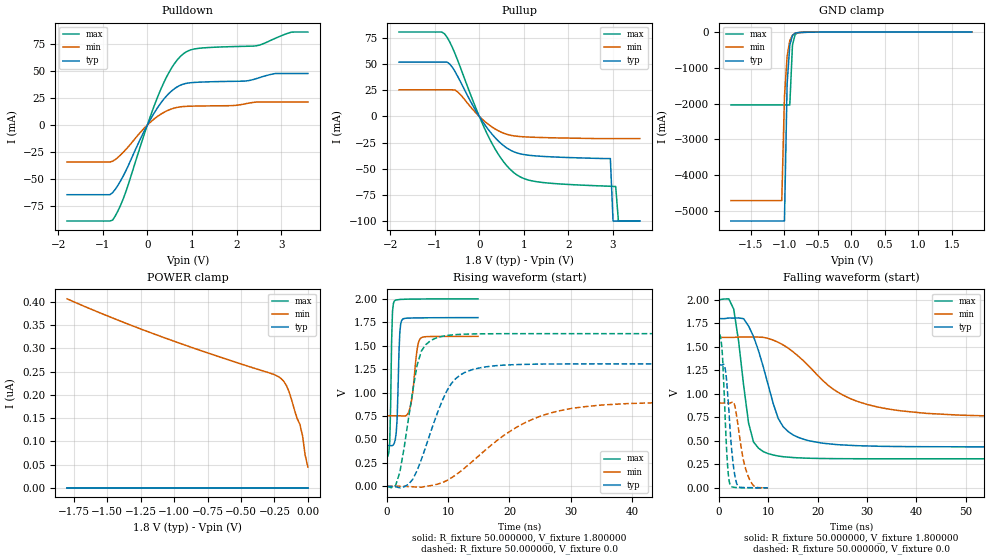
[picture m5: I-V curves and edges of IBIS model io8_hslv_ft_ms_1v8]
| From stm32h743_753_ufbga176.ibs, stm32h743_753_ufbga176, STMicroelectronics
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|   Model io8_hslv_ft_ms_1v8
[Model]  io8_hslv_ft_ms_1v8
Model_type I/O
Polarity   Non-Inverting
Enable   Active-Low
Vinl =   0.540000V
Vinh =   1.260000V
Vmeas =  0.900000V
Cref =   40.000000pF
Rref =   100.000000M
Vref =   0.0V
C_comp   3.178600pF   3.147500pF   3.264300pF
[Temperature Range]   25.000000   0.140000k   -40.000000
[Pullup Reference]   1.800000V   1.600000V   2.000000V
[Pulldown Reference]   0.0V   0.0V   0.0V
[POWER Clamp Reference]   1.800000V   1.600000V   2.000000V
[GND Clamp Reference]   0.0V   0.0V   0.0V
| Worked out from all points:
|   slope of the pulldown table from 0 to 0.27 V, typ, clamps not added: 14.5 ohm
|   slope of the pullup table from 0 to 0.27 V, typ, clamps not added: 16.7 ohm
|   GND clamp passes 1 mA (typ) near -0.49 V on its own axis
|   rising waveform, R_fixture 50.000000, V_fixture 1.800000: 20-80 % time 375ps typ, 834ps min, 291ps max; typ from 0.436 V to 1.8 V
|   rising waveform, R_fixture 50.000000, V_fixture 0.0: 20-80 % time 4.56ns typ, 11.6ns min, 2.4ns max; typ from 0 V to 1.31 V
|   falling waveform, R_fixture 50.000000, V_fixture 1.800000: 20-80 % time 4.79ns typ, 12.5ns min, 2.53ns max; typ from 1.8 V to 0.436 V
|   falling waveform, R_fixture 50.000000, V_fixture 0.0: 20-80 % time 1.17ns typ, 1.83ns min, 835ps max; typ from 1.31 V to 0 V
[Pulldown]
|Voltage   I(typ)   I(min)   I(max)
-1.8V     -64.86mA   -34.49mA   -89.34mA
-780mV    -63.02mA   -33.74mA   -88.51mA
-540mV    -47.38mA   -25.35mA   -68.57mA
-60mV     -4.803mA   -2.495mA   -7.416mA
300mV     20.37mA    10mA       33.08mA
540mV     31.54mA    14.9mA     52.85mA
780mV     37.68mA    17.08mA    65.31mA
1.14V     39.81mA    17.65mA    71.28mA
2.46V     43.34mA    21.39mA    73.82mA
2.88V     47.93mA    21.39mA    80.85mA
3.24V     47.93mA    21.39mA    86.46mA
3.6V      47.93mA    21.39mA    86.5mA
[Pullup]
|Voltage   I(typ)   I(min)   I(max)
-1.8V     51.86mA    25.35mA    80.61mA
-780mV    51.86mA    25.35mA    78.91mA
-660mV    49.98mA    25.35mA    70.92mA
-480mV    37.89mA    23.27mA    53.06mA
240mV     -14.62mA   -8.774mA   -22.23mA
780mV     -33.92mA   -18.65mA   -53.95mA
1.32V     -37.95mA   -20.11mA   -62.64mA
2.94V     -40.3mA    -21.2mA    -66.8mA
3V        -100mA     -21.2mA    -67mA
3.06V     -100mA     -21.2mA    -67mA
3.12V     -100mA     -21.2mA    -100mA
3.6V      -100mA     -21.2mA    -100mA
[GND_clamp]
|Voltage   I(typ)   I(min)   I(max)
-1.8V     -5.279A    -4.707A    -2.038A
-1.04V    -5.279A    -4.707A    -2.038A
-1V       -5.279A    -1.816A    -2.038A
-960mV    -1.443A    -671.6mA   -2.038A
-920mV    -368.1mA   -241.4mA   -2.038A
-880mV    -95.78mA   -89.36mA   -359.4mA
-840mV    -32.05mA   -36.9mA    -67.6mA
-800mV    -16.14mA   -18.39mA   -21.96mA
-760mV    -10.94mA   -11.34mA   -13.1mA
-520mV    -1.549mA   -2.045mA   -1.468mA
1.8V      0A         -17.59nA   0A
[POWER_clamp]
|Voltage   I(typ)   I(min)   I(max)
-1.8V     0A         406.5nA    0A
-1.46V    0A         365.4nA    0A
-1.12V    0A         327.8nA    0A
-220mV    0A         239.1nA    0A
-180mV    0A         229nA      0A
-160mV    0A         219.8nA    0A
-140mV    0A         206.2nA    0A
-80mV     0A         148.9nA    0A
-60mV     0A         136.9nA    0A
-40mV     0A         112.3nA    0A
-20mV     0A         69.79nA    0A
0V        0A         44.72nA    0A
[Ramp]
| variable   typ   min   max
dV/dt_r  0.78396/4.52419n   0.54064/11.56348n   0.97590/2.35696n
dV/dt_f  0.81858/4.68998n   0.50862/12.49223n   1.01522/2.39742n
R_load = 50.000000
[Rising Waveform]
R_fixture= 50.000000
V_fixture= 1.800000
V_fixture_min= 1.600000
V_fixture_max= 2.000000
|time   V(typ)   V(min)   V(max)
0s        435.7mV    752.2mV    308.5mV
450.5ps   435.4mV    752.2mV    471mV
900.9ps   435.4mV    752.2mV    1.867V
1.201ns   462.7mV    752.2mV    1.977V
1.652ns   713.9mV    752.3mV    1.99V
2.102ns   1.65V      752mV      1.994V
2.402ns   1.77V      751mV      1.995V
3.754ns   1.795V     835.5mV    1.998V
5.405ns   1.797V     1.573V     1.998V
14.86ns   1.8V       1.6V       2V
[Rising Waveform]
R_fixture= 50.000000
V_fixture= 0.0
V_fixture_min= 0.0
V_fixture_max= 0.0
|time   V(typ)   V(min)   V(max)
0s        -4.538uV   697.7nV    -514.9uV
2.102ns   -16.51mV   48.88uV    150.3mV
4.905ns   166.4mV    -8.418mV   1.288V
5.606ns   284.7mV    -9.655mV   1.442V
8.408ns   814mV      25.77mV    1.591V
10.51ns   1.097V     90.09mV    1.615V
13.31ns   1.23V      229.8mV    1.624V
21.02ns   1.299V     624.8mV    1.629V
28.03ns   1.305V     803.8mV    1.629V
69.37ns   1.307V     901.2mV    1.629V
[Falling Waveform]
R_fixture= 50.000000
V_fixture= 1.800000
V_fixture_min= 1.600000
V_fixture_max= 2.000000
|time   V(typ)   V(min)   V(max)
0s        1.8V       1.6V       2V
3.003ns   1.805V     1.6V       1.9V
6.006ns   1.722V     1.603V     690.6mV
7.007ns   1.611V     1.604V     487.8mV
10.01ns   1.089V     1.588V     362.9mV
13.01ns   650mV      1.52V      330.8mV
21.02ns   474.5mV    1.143V     311.4mV
29.03ns   446.6mV    902.6mV    309mV
41.04ns   437.3mV    796.7mV    308.6mV
99.1ns    435.7mV    752.2mV    308.5mV
[Falling Waveform]
R_fixture= 50.000000
V_fixture= 0.0
V_fixture_min= 0.0
V_fixture_max= 0.0
|time   V(typ)   V(min)   V(max)
0s        1.307V     901.2mV    1.629V
600.6ps   1.307V     901.2mV    1.494V
1.301ns   1.256V     901.2mV    699.9mV
1.802ns   977.2mV    901.1mV    205.1mV
2.202ns   668.4mV    901.3mV    41.66mV
3.003ns   208.1mV    906.5mV    5.384mV
3.904ns   15.21mV    651.2mV    1.725mV
5.005ns   2.782mV    286mV      502.1uV
6.306ns   1.659mV    77.94mV    -31.42uV
9.91ns    -4.538uV   697.7nV    -514.9uV
